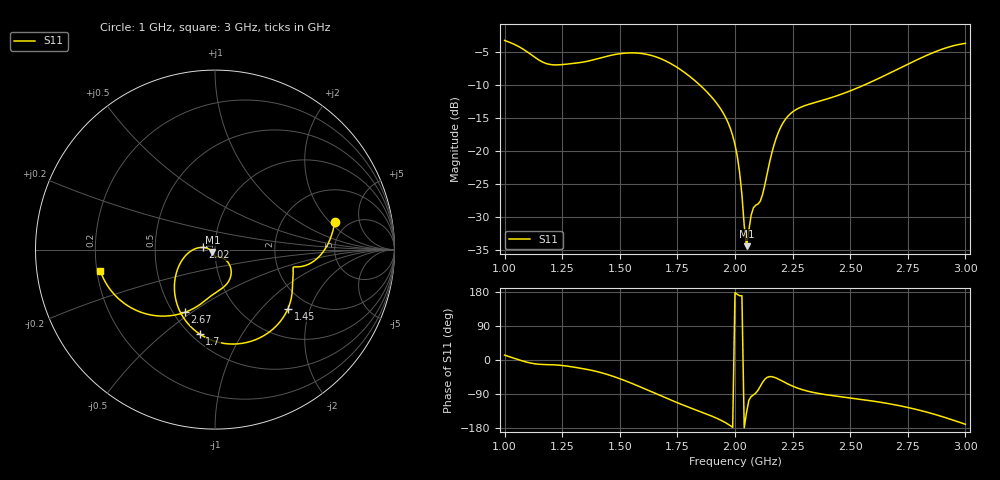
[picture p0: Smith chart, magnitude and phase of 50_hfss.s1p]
! Touchstone file from project 50
! Exported from HFSS 2014.0.0
! Variables:
!  H_trim = 70mm
!  Hgnd = 10mm
!  Hh = 63mm
!  Lgnd = 1mm
!  N = 0.934827978339152
!  Nseg = 50
!  Rb = 9mm
!  Rg = 21.75mm
!  Rl = 25ohm
!  Rload = 23ohm
!  Rt = 7.2mm
!  alpha = 50deg
!  cap_h = 1mm
!  cut_r = 1.5mm
!  dh = 1mm
!  dz = 0.1mm
!  handness = -1
!  hd = 2mm
!  hd_int = 1mm
!  l23 = 3mm
!  lambda = 140mm
!  w = 0.836660026534076mm
!  w23 = 1mm
# GHZ S MA R 50.000000
! Terminal data exported
! Port[1] = p1
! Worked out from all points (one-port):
!   201 points, 1 GHz to 3 GHz, reference 50 ohm
!   lowest |S11| = -34.4 dB at 2.05 GHz (marker M1), VSWR 1.04, Z = 48.6 - j1.22 ohm
!   |S11| at or under -10 dB: 1.846 GHz to 2.563 GHz (716.3 MHz wide, 32.5 % of centre)
!   S11 on the Smith chart (normalised r, x): 1 GHz: 3.97, +2.27; 1.45 GHz: 1.58, -1.43; 1.7 GHz: 0.55, -0.67; 2.02 GHz: 0.87, +0.02; 2.67 GHz: 0.57, -0.47; 3 GHz: 0.21, -0.09
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1  0.6841 12.9
1.11  0.5428 -7.7
1.17  0.4656 -11.9
1.25  0.4497 -14.5
1.36  0.4768 -25.1
1.45  0.523 -38.9
1.5  0.5431 -49.3
1.6  0.5438 -73.8
1.7  0.4785 -100.2
1.75  0.427 -112.8
1.83  0.3354 -131.8
1.92  0.2303 -153.5
1.97  0.1637 -169.4
2  0.1118 177.7
2.02  0.06915 169.6
2.03  0.04686 169.5
2.04  0.02748 -178.8
2.05  0.01914 -138.9
2.07  0.03278 -96.4
2.12  0.04725 -58.7
2.18  0.127 -47.9
2.21  0.1649 -57.1
2.25  0.1976 -69.0
2.5  0.2847 -100.1
2.67  0.3866 -115.5
2.75  0.4524 -125.2
2.88  0.5715 -145.8
3  0.6504 -169.6
